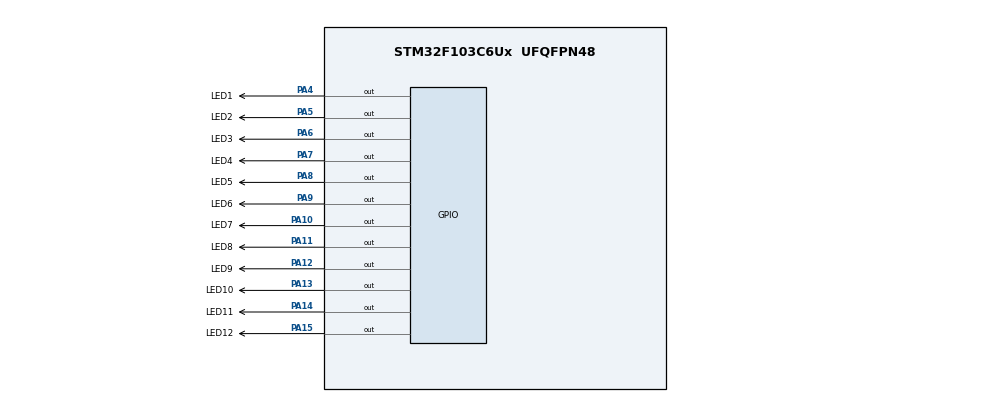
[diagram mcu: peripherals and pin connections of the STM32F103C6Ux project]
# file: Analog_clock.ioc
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Mcu.Family=STM32F1
Mcu.Name=STM32F103C6Ux
Mcu.Package=UFQFPN48
NVIC.PriorityGroup=NVIC_PRIORITYGROUP_4
PA10.GPIO_Label=LED7
PA10.Signal=GPIO_Output
PA11.GPIO_Label=LED8
PA11.Signal=GPIO_Output
PA12.GPIO_Label=LED9
PA12.Signal=GPIO_Output
PA13.GPIO_Label=LED10
PA13.Signal=GPIO_Output
PA14.GPIO_Label=LED11
PA14.Signal=GPIO_Output
PA15.GPIO_Label=LED12
PA15.Signal=GPIO_Output
PA4.GPIO_Label=LED1
PA4.Signal=GPIO_Output
PA5.GPIO_Label=LED2
PA5.Signal=GPIO_Output
PA6.GPIO_Label=LED3
PA6.Signal=GPIO_Output
PA7.GPIO_Label=LED4
PA7.Signal=GPIO_Output
PA8.GPIO_Label=LED5
PA8.Signal=GPIO_Output
PA9.GPIO_Label=LED6
PA9.Signal=GPIO_Output
ProjectManager.HeapSize=0x200
ProjectManager.StackSize=0x400
ProjectManager.TargetToolchain=STM32CubeIDE
RCC.APB1Freq_Value=8000000
RCC.APB2Freq_Value=8000000
VP_SYS_VS_ND.Mode=No_Debug
board=custom

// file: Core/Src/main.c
/* USER CODE BEGIN Header */
/**
  ******************************************************************************
  * @file           : main.c
  * @brief          : Main program body
  ******************************************************************************
  * @attention
  *
  * <h2><center>&copy; Copyright (c) 2025 STMicroelectronics.
  * All rights reserved.</center></h2>
  *
  * This software component is licensed by ST under BSD 3-Clause license,
  * the "License"; You may not use this file except in compliance with the
  * License. You may obtain a copy of the License at:
  *                        opensource.org/licenses/BSD-3-Clause
  *
  ******************************************************************************
  */
/* USER CODE END Header */
#include "main.h"

void SystemClock_Config(void);
static void MX_GPIO_Init(void);

int main(void)
{
  /* USER CODE BEGIN 1 */
  void clearAllclock(){
	  HAL_GPIO_WritePin(LED1_GPIO_Port, LED1_Pin, GPIO_PIN_SET);
	  HAL_GPIO_WritePin(LED2_GPIO_Port, LED2_Pin, GPIO_PIN_SET);
	  HAL_GPIO_WritePin(LED3_GPIO_Port, LED3_Pin, GPIO_PIN_SET);
	  HAL_GPIO_WritePin(LED4_GPIO_Port, LED4_Pin, GPIO_PIN_SET);
	  HAL_GPIO_WritePin(LED5_GPIO_Port, LED5_Pin, GPIO_PIN_SET);
	  HAL_GPIO_WritePin(LED6_GPIO_Port, LED6_Pin, GPIO_PIN_SET);
	  HAL_GPIO_WritePin(LED7_GPIO_Port, LED7_Pin, GPIO_PIN_SET);
	  HAL_GPIO_WritePin(LED8_GPIO_Port, LED8_Pin, GPIO_PIN_SET);
	  HAL_GPIO_WritePin(LED9_GPIO_Port, LED9_Pin, GPIO_PIN_SET);
	  HAL_GPIO_WritePin(LED10_GPIO_Port, LED10_Pin, GPIO_PIN_SET);
	  HAL_GPIO_WritePin(LED11_GPIO_Port, LED11_Pin, GPIO_PIN_SET);
	  HAL_GPIO_WritePin(LED12_GPIO_Port, LED12_Pin, GPIO_PIN_SET);
  };

  void setNumberOnClock(int num){
	  if (num == 0) HAL_GPIO_WritePin(LED1_GPIO_Port, LED1_Pin, GPIO_PIN_RESET);
	  if (num == 1) HAL_GPIO_WritePin(LED2_GPIO_Port, LED2_Pin, GPIO_PIN_RESET);
	  if (num == 2) HAL_GPIO_WritePin(LED3_GPIO_Port, LED3_Pin, GPIO_PIN_RESET);
	  if (num == 3) HAL_GPIO_WritePin(LED4_GPIO_Port, LED4_Pin, GPIO_PIN_RESET);
	  if (num == 4) HAL_GPIO_WritePin(LED5_GPIO_Port, LED5_Pin, GPIO_PIN_RESET);
	  if (num == 5) HAL_GPIO_WritePin(LED6_GPIO_Port, LED6_Pin, GPIO_PIN_RESET);
	  if (num == 6) HAL_GPIO_WritePin(LED7_GPIO_Port, LED7_Pin, GPIO_PIN_RESET);
	  if (num == 7) HAL_GPIO_WritePin(LED8_GPIO_Port, LED8_Pin, GPIO_PIN_RESET);
	  if (num == 8) HAL_GPIO_WritePin(LED9_GPIO_Port, LED9_Pin, GPIO_PIN_RESET);
	  if (num == 9) HAL_GPIO_WritePin(LED10_GPIO_Port, LED10_Pin, GPIO_PIN_RESET);
	  if (num == 10) HAL_GPIO_WritePin(LED11_GPIO_Port, LED11_Pin, GPIO_PIN_RESET);
	  if (num == 11) HAL_GPIO_WritePin(LED12_GPIO_Port, LED12_Pin, GPIO_PIN_RESET);
  }

  void clearNumberOnClock(int num){
	  if (num == 0) HAL_GPIO_WritePin(LED1_GPIO_Port, LED1_Pin, GPIO_PIN_SET);
	  if (num == 1) HAL_GPIO_WritePin(LED2_GPIO_Port, LED2_Pin, GPIO_PIN_SET);
	  if (num == 2) HAL_GPIO_WritePin(LED3_GPIO_Port, LED3_Pin, GPIO_PIN_SET);
	  if (num == 3) HAL_GPIO_WritePin(LED4_GPIO_Port, LED4_Pin, GPIO_PIN_SET);
	  if (num == 4) HAL_GPIO_WritePin(LED5_GPIO_Port, LED5_Pin, GPIO_PIN_SET);
	  if (num == 5) HAL_GPIO_WritePin(LED6_GPIO_Port, LED6_Pin, GPIO_PIN_SET);
	  if (num == 6) HAL_GPIO_WritePin(LED7_GPIO_Port, LED7_Pin, GPIO_PIN_SET);
	  if (num == 7) HAL_GPIO_WritePin(LED8_GPIO_Port, LED8_Pin, GPIO_PIN_SET);
	  if (num == 8) HAL_GPIO_WritePin(LED9_GPIO_Port, LED9_Pin, GPIO_PIN_SET);
	  if (num == 9) HAL_GPIO_WritePin(LED10_GPIO_Port, LED10_Pin, GPIO_PIN_SET);
	  if (num == 10) HAL_GPIO_WritePin(LED11_GPIO_Port, LED11_Pin, GPIO_PIN_SET);
	  if (num == 11) HAL_GPIO_WritePin(LED12_GPIO_Port, LED12_Pin, GPIO_PIN_SET);
  }

  int second = 10;
  int minute = 55;
  int hour = 5;

  int prevSecond = -1;
  int prevMinute = -1;
  int prevHour = -1;
  /* USER CODE END 1 */

  /* MCU Configuration--------------------------------------------------------*/

  /* Reset of all peripherals, Initializes the Flash interface and the Systick. */
  HAL_Init();

  /* Configure the system clock */
  SystemClock_Config();

  /* Initialize all configured peripherals */
  MX_GPIO_Init();
  /* USER CODE BEGIN 2 */
  	HAL_GPIO_WritePin(LED1_GPIO_Port, LED1_Pin, GPIO_PIN_SET);
    HAL_GPIO_WritePin(LED2_GPIO_Port, LED2_Pin, GPIO_PIN_SET);
    HAL_GPIO_WritePin(LED3_GPIO_Port, LED3_Pin, GPIO_PIN_SET);
    HAL_GPIO_WritePin(LED4_GPIO_Port, LED4_Pin, GPIO_PIN_SET);
    HAL_GPIO_WritePin(LED5_GPIO_Port, LED5_Pin, GPIO_PIN_SET);
    HAL_GPIO_WritePin(LED6_GPIO_Port, LED6_Pin, GPIO_PIN_SET);
    HAL_GPIO_WritePin(LED7_GPIO_Port, LED7_Pin, GPIO_PIN_SET);
    HAL_GPIO_WritePin(LED8_GPIO_Port, LED8_Pin, GPIO_PIN_SET);
    HAL_GPIO_WritePin(LED9_GPIO_Port, LED9_Pin, GPIO_PIN_SET);
    HAL_GPIO_WritePin(LED10_GPIO_Port, LED10_Pin, GPIO_PIN_SET);
    HAL_GPIO_WritePin(LED11_GPIO_Port, LED11_Pin, GPIO_PIN_SET);
    HAL_GPIO_WritePin(LED12_GPIO_Port, LED12_Pin, GPIO_PIN_SET);
  /* USER CODE END 2 */

  /* Infinite loop */
  /* USER CODE BEGIN WHILE */
  while (1)
  {
	  	  int nowSecond = second / 5;
	 	  int nowMinute = minute / 5;
	 	  int nowHour = hour % 12;

	 	 setNumberOnClock(nowSecond);
	 	 if (nowSecond != prevSecond){
	 		if (prevSecond != -1) clearNumberOnClock(prevSecond);
	 		setNumberOnClock(nowSecond);
	 		prevSecond = nowSecond;
	 	 }

	 	 setNumberOnClock(nowMinute);
	 	 if (nowMinute != prevMinute){
	 		 if (prevMinute != -1) clearNumberOnClock(prevMinute);
	 		 setNumberOnClock(nowMinute);
	 		 prevMinute = nowMinute;
	 	 }

	 	setNumberOnClock(nowHour);
	 	 if (nowHour != prevHour){
	 		 if (prevHour != -1) clearNumberOnClock(prevHour);
	 		 setNumberOnClock(nowHour);
	 		 prevHour = nowHour;
	 	 }
	 	 HAL_Delay(100);
	 	  second++;

	 	  if (second == 60){
	 		  second = 0;
	 		  minute++;
	 	  }
	 	  if (minute == 60){
	 		  minute = 0;
	 		  hour++;
	 	  }
	 	  if (hour == 24){
	 		  hour = 0;
	 	  }

    /* USER CODE END WHILE */

  }
}

void SystemClock_Config(void)
{
  RCC_OscInitTypeDef RCC_OscInitStruct = {0};
  RCC_ClkInitTypeDef RCC_ClkInitStruct = {0};

  /** Initializes the RCC Oscillators according to the specified parameters
  * in the RCC_OscInitTypeDef structure.
  */
  RCC_OscInitStruct.OscillatorType = RCC_OSCILLATORTYPE_HSI;
  RCC_OscInitStruct.HSIState = RCC_HSI_ON;
  RCC_OscInitStruct.HSICalibrationValue = RCC_HSICALIBRATION_DEFAULT;
  RCC_OscInitStruct.PLL.PLLState = RCC_PLL_NONE;
  if (HAL_RCC_OscConfig(&RCC_OscInitStruct) != HAL_OK)
  {
    Error_Handler();
  }
  /** Initializes the CPU, AHB and APB buses clocks
  */
  RCC_ClkInitStruct.ClockType = RCC_CLOCKTYPE_HCLK|RCC_CLOCKTYPE_SYSCLK
                              |RCC_CLOCKTYPE_PCLK1|RCC_CLOCKTYPE_PCLK2;
  RCC_ClkInitStruct.SYSCLKSource = RCC_SYSCLKSOURCE_HSI;
  RCC_ClkInitStruct.AHBCLKDivider = RCC_SYSCLK_DIV1;
  RCC_ClkInitStruct.APB1CLKDivider = RCC_HCLK_DIV1;
  RCC_ClkInitStruct.APB2CLKDivider = RCC_HCLK_DIV1;

  if (HAL_RCC_ClockConfig(&RCC_ClkInitStruct, FLASH_LATENCY_0) != HAL_OK)
  {
    Error_Handler();
  }
}

static void MX_GPIO_Init(void)
{
  GPIO_InitTypeDef GPIO_InitStruct = {0};

  /* GPIO Ports Clock Enable */
  __HAL_RCC_GPIOA_CLK_ENABLE();

  /*Configure GPIO pin Output Level */
  HAL_GPIO_WritePin(GPIOA, LED1_Pin|LED2_Pin|LED3_Pin|LED4_Pin
                          |LED5_Pin|LED6_Pin|LED7_Pin|LED8_Pin
                          |LED9_Pin|LED10_Pin|LED11_Pin|LED12_Pin, GPIO_PIN_RESET);

  /*Configure GPIO pins : LED1_Pin LED2_Pin LED3_Pin LED4_Pin
                           LED5_Pin LED6_Pin LED7_Pin LED8_Pin
                           LED9_Pin LED10_Pin LED11_Pin LED12_Pin */
  GPIO_InitStruct.Pin = LED1_Pin|LED2_Pin|LED3_Pin|LED4_Pin
                          |LED5_Pin|LED6_Pin|LED7_Pin|LED8_Pin
                          |LED9_Pin|LED10_Pin|LED11_Pin|LED12_Pin;
  GPIO_InitStruct.Mode = GPIO_MODE_OUTPUT_PP;
  GPIO_InitStruct.Pull = GPIO_NOPULL;
  GPIO_InitStruct.Speed = GPIO_SPEED_FREQ_LOW;
  HAL_GPIO_Init(GPIOA, &GPIO_InitStruct);

}

void Error_Handler(void)
{
  __disable_irq();
  while (1)
  {
  }
}

/************************ (C) COPYRIGHT STMicroelectronics *****END OF FILE****/
